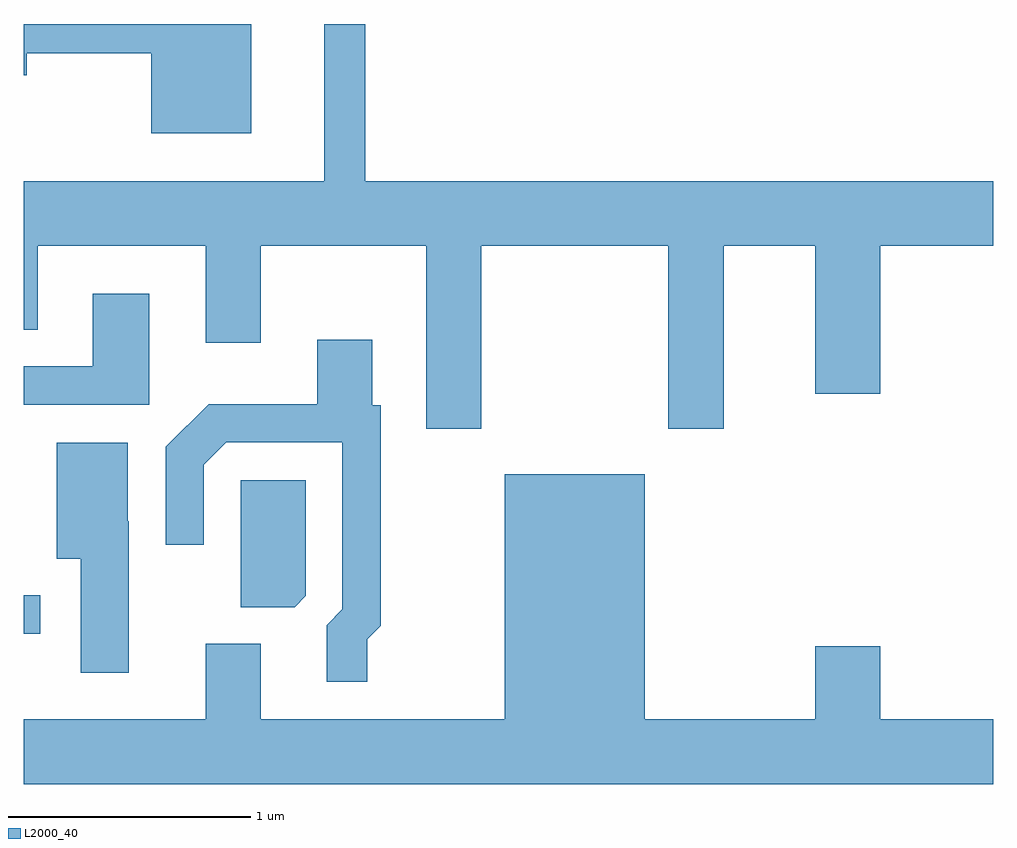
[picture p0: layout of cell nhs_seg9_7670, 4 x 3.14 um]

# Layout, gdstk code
import gdstk
lib = gdstk.Library(unit=1e-6, precision=1e-09)
def R(c, l, rs):  # rectangles x0, y0, x1, y1
    for r in rs: c.add(gdstk.rectangle(r[:2], r[2:], *l))
def P(c, l, *ps):  # polygons
    for p in ps: c.add(gdstk.Polygon(p, *l))
L2000_40 = (2000, 40)

nhs_seg9_7670 = lib.new_cell('nhs_seg9_7670')
R(nhs_seg9_7670, L2000_40, [(411.611,2067.916,411.678,2068.074)])
P(nhs_seg9_7670, L2000_40, [(413.499,2069.516),(414.271,2069.516),(414.271,2068.761),(414.499,2068.761),(414.499,2069.516),(414.876,2069.516),(414.876,2068.906),(415.144,2068.906),(415.144,2069.516),(415.611,2069.516),(415.611,2069.784),(413.019,2069.784),(413.019,2070.432),(412.851,2070.432),(412.851,2069.784),(411.611,2069.784),(411.611,2069.171),(411.669,2069.171),(411.669,2069.516),(412.361,2069.516),(412.361,2069.116),(412.589,2069.116),(412.589,2069.516),(413.271,2069.516),(413.271,2068.761),(413.499,2068.761)],
  [(412.549,2070.432),(411.611,2070.432),(411.611,2070.221),(411.624,2070.221),(411.624,2070.311),(412.136,2070.311),(412.136,2069.981),(412.549,2069.981)],
  [(412.129,2069.319),(411.896,2069.319),(411.896,2069.019),(411.611,2069.019),(411.611,2068.861),(412.129,2068.861)],
  [(413.029,2067.894),(413.084,2067.949),(413.084,2068.859),(413.049,2068.859),(413.049,2069.129),(412.821,2069.129),(412.821,2068.864),(412.374,2068.864),(412.196,2068.687),(412.196,2068.283),(412.354,2068.283),(412.354,2068.614),(412.447,2068.706),(412.926,2068.706),(412.926,2068.017),(412.861,2067.952),(412.861,2067.718),(413.029,2067.718)],
  [(412.044,2068.38),(412.039,2068.38),(412.039,2068.704),(411.746,2068.704),(411.746,2068.226),(411.846,2068.226),(411.846,2067.756),(412.044,2067.756)],
  [(415.611,2067.564),(415.144,2067.564),(415.144,2067.864),(414.876,2067.864),(414.876,2067.564),(414.174,2067.564),(414.174,2068.574),(413.596,2068.574),(413.596,2067.564),(412.589,2067.564),(412.589,2067.874),(412.361,2067.874),(412.361,2067.564),(411.611,2067.564),(411.611,2067.296),(415.611,2067.296)],
  [(412.774,2068.072),(412.774,2068.549),(412.506,2068.549),(412.506,2068.026),(412.729,2068.026)])

lib.write_gds('nhs_seg9_7670.gds')
